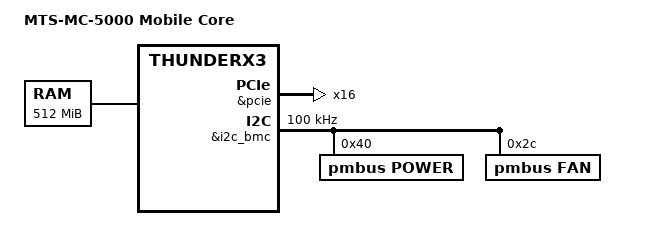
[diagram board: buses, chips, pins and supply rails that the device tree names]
/*
 * Device Tree for MTS-MC-5000 Mobile Core
 * Marvell ThunderX3 + AMD EPYC 7002
 */

/dts-v1/;
/include/ "marvell/thunderx3.dtsi"
/include/ "amd/epyc-naples.dtsi"

/ {
    model = "MTS-MC-5000 Mobile Core";
    compatible = "mts,mc5000", "marvell,thunderx3";

    chosen {
        bootargs = "console=ttyS0,115200n8 root=/dev/nvme0n1p2 rw";
        stdout-path = "serial:0";
    };

    memory {
        reg = <0x00000000 0x00000000 0x00000000 0x20000000>; /* 512MB base */
    };

    /* PCIe for ThunderX3 */
    &pcie {
        status = "okay";
        num-lanes = <16>;
        max-speed = <4>; /* PCIe Gen4 */
    };

    /* ThunderX3 ARM64 */
    thunderx3: cpu@0 {
        compatible = "marvell,thunderx3";
        num-cores = <96>;
        architecture = "arm64";
        clock-frequency = <2000000000>;
        status = "okay";
    };

    /* NVMe storage */
    &nvme {
        status = "okay";
        num-controllers = <2>;
    };

    /* BMC */
    &bmc {
        status = "okay";
        i2c-bus = <&i2c_bmc>;
    };

    /* I2C for management */
    &i2c_bmc {
        status = "okay";
        clock-frequency = <100000>;

        power@40 {
            compatible = "pmbus,power";
            reg = <0x40>;
        };

        fan@2c {
            compatible = "pmbus,fan";
            reg = <0x2c>;
        };
    };

    /* Clocks */
    &clocks {
        status = "okay";
        reference-clock = <100000000>;
    };
};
